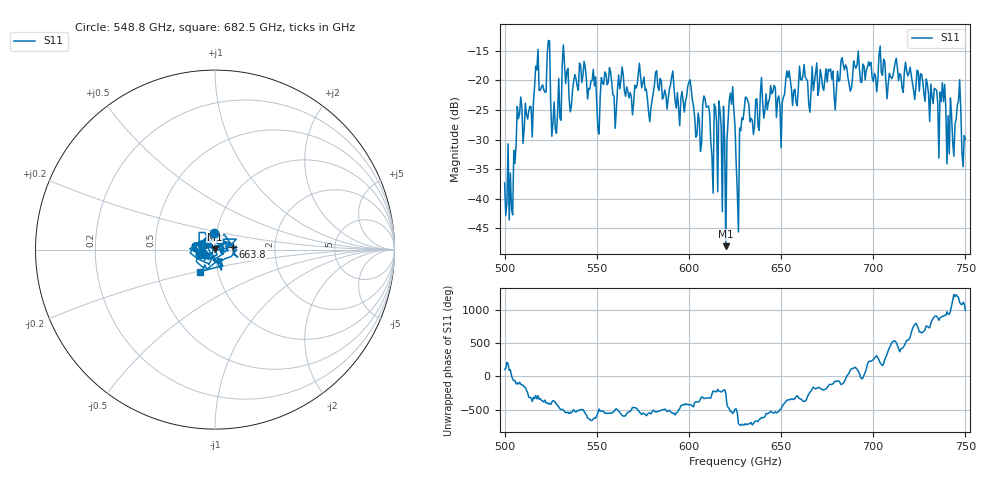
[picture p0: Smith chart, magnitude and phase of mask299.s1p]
!Created with skrf (http://scikit-rf.org).
# GHz S MA R 50.0
!freq magS11 angS11
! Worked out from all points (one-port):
!   401 points, 500 GHz to 750 GHz, reference 50 ohm
!   lowest |S11| = -48.0 dB at 620 GHz (marker M1), VSWR 1.01, Z = 49.9 + j0.382 ohm
!   |S11| at or under -10 dB: start of sweep to end of sweep
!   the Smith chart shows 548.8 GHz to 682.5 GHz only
!   S11 on the Smith chart (normalised r, x): 548.8 GHz: 0.98, +0.18; 663.8 GHz: 1.23, +0.04; 682.5 GHz: 0.83, -0.21
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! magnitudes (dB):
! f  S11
! 500 GHz  -37.3
! 503.8 GHz  -41.8
! 508.1 GHz  -25.6
! 513.8 GHz  -24.4
! 517.5 GHz  -18.2
! 523.8 GHz  -13.3
! 526.9 GHz  -23.6
! 531.2 GHz  -17.4
! 548.8 GHz  -20.9
! 562.5 GHz  -21.4
! 593.8 GHz  -22.1
! 600.6 GHz  -19.9
! 605 GHz  -25.5
! 609.4 GHz  -24.5
! 611.9 GHz  -30.4
! 620 GHz  -48.0
! 623.1 GHz  -24.0
! 625 GHz  -27.6
! 626.9 GHz  -45.6
! 631.2 GHz  -22.9
! 656.2 GHz  -24.2
! 663.8 GHz  -19.8
! 682.5 GHz  -16.6
! 687.5 GHz  -21.8
! 718.8 GHz  -19.2
! 742.5 GHz  -25.9
! 746.2 GHz  -23.6
! 750 GHz  -30.0
